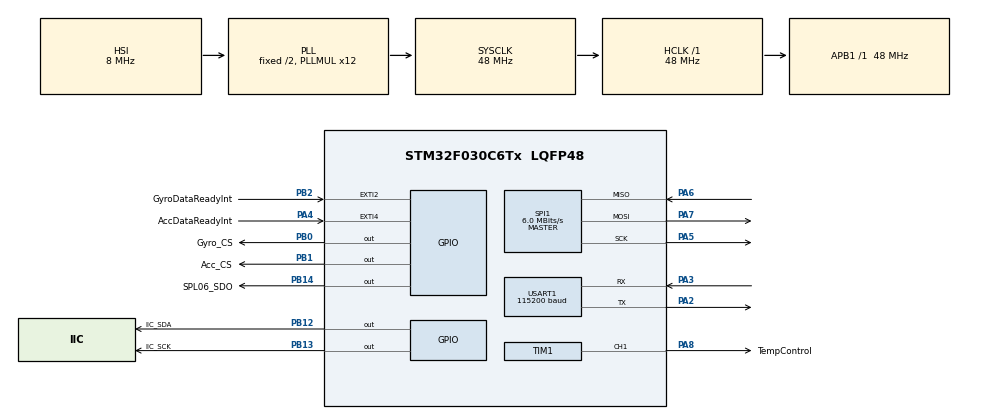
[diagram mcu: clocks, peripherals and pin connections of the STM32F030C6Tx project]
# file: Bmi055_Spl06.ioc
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Dma.Request0=SPI1_RX
Dma.Request1=SPI1_TX
Dma.SPI1_RX.0.Direction=DMA_PERIPH_TO_MEMORY
Dma.SPI1_RX.0.Instance=DMA1_Channel2
Dma.SPI1_RX.0.MemDataAlignment=DMA_MDATAALIGN_BYTE
Dma.SPI1_RX.0.MemInc=DMA_MINC_ENABLE
Dma.SPI1_RX.0.Mode=DMA_NORMAL
Dma.SPI1_RX.0.PeriphDataAlignment=DMA_PDATAALIGN_BYTE
Dma.SPI1_RX.0.PeriphInc=DMA_PINC_DISABLE
Dma.SPI1_RX.0.Priority=DMA_PRIORITY_LOW
Dma.SPI1_TX.1.Direction=DMA_MEMORY_TO_PERIPH
Dma.SPI1_TX.1.Instance=DMA1_Channel3
Dma.SPI1_TX.1.MemDataAlignment=DMA_MDATAALIGN_BYTE
Dma.SPI1_TX.1.MemInc=DMA_MINC_ENABLE
Dma.SPI1_TX.1.Mode=DMA_NORMAL
Dma.SPI1_TX.1.PeriphDataAlignment=DMA_PDATAALIGN_BYTE
Dma.SPI1_TX.1.PeriphInc=DMA_PINC_DISABLE
Dma.SPI1_TX.1.Priority=DMA_PRIORITY_LOW
Mcu.Family=STM32F0
Mcu.Name=STM32F030C6Tx
Mcu.Package=LQFP48
NVIC.DMA1_Channel2_3_IRQn=true\:0\:0\:false\:false\:true\:false\:true\:true
NVIC.SPI1_IRQn=true\:0\:0\:false\:false\:true\:true\:true\:true
NVIC.TIM16_IRQn=true\:0\:0\:false\:false\:false\:true\:true\:true
NVIC.TIM3_IRQn=true\:0\:0\:false\:false\:false\:true\:true\:true
PA13.Mode=Serial_Wire
PA13.Signal=SYS_SWDIO
PA14.Mode=Serial_Wire
PA14.Signal=SYS_SWCLK
PA2.Mode=Asynchronous
PA2.Signal=USART1_TX
PA3.Mode=Asynchronous
PA3.Signal=USART1_RX
PA4.GPIO_Label=AccDataReadyInt
PA4.Signal=GPXTI4
PA5.Mode=Full_Duplex_Master
PA5.Signal=SPI1_SCK
PA6.Mode=Full_Duplex_Master
PA6.Signal=SPI1_MISO
PA7.Mode=Full_Duplex_Master
PA7.Signal=SPI1_MOSI
PA8.GPIO_Label=TempControl
PA8.GPIO_PuPd=GPIO_PULLDOWN
PA8.GPIO_Speed=GPIO_SPEED_FREQ_HIGH
PA8.Signal=S_TIM1_CH1
PB0.GPIO_Label=Gyro_CS
PB0.Signal=GPIO_Output
PB1.GPIO_Label=Acc_CS
PB1.Signal=GPIO_Output
PB12.GPIO_Label=IIC_SDA
PB12.GPIO_Speed=GPIO_SPEED_FREQ_HIGH
PB12.Signal=GPIO_Output
PB13.GPIO_Label=IIC_SCK
PB13.GPIO_ModeDefaultOutputPP=GPIO_MODE_OUTPUT_PP
PB13.GPIO_PuPd=GPIO_PULLUP
PB13.GPIO_Speed=GPIO_SPEED_FREQ_HIGH
PB13.Signal=GPIO_Output
PB14.GPIO_Label=SPL06_SDO
PB14.Signal=GPIO_Output
PB2.GPIO_Label=GyroDataReadyInt
PB2.Signal=GPXTI2
PF0-OSC_IN.Mode=HSE-External-Oscillator
PF0-OSC_IN.Signal=RCC_OSC_IN
PF1-OSC_OUT.Mode=HSE-External-Oscillator
PF1-OSC_OUT.Signal=RCC_OSC_OUT
ProjectManager.HeapSize=0x200
ProjectManager.StackSize=0x400
ProjectManager.TargetToolchain=MDK-ARM V5.32
RCC.AHBFreq_Value=48000000
RCC.APB1Freq_Value=48000000
RCC.APB1TimFreq_Value=48000000
RCC.HCLKFreq_Value=48000000
RCC.HSE_VALUE=12000000
RCC.PLLMUL=RCC_PLL_MUL12
RCC.SYSCLKFreq_VALUE=48000000
RCC.SYSCLKSource=RCC_SYSCLKSOURCE_PLLCLK
SH.S_TIM1_CH1.0=TIM1_CH1,PWM Generation1 CH1
SPI1.BaudRatePrescaler=SPI_BAUDRATEPRESCALER_8
SPI1.CLKPhase=SPI_PHASE_2EDGE
SPI1.CLKPolarity=SPI_POLARITY_HIGH
SPI1.CalculateBaudRate=6.0 MBits/s
SPI1.DataSize=SPI_DATASIZE_8BIT
SPI1.Direction=SPI_DIRECTION_2LINES
SPI1.Mode=SPI_MODE_MASTER
SPI1.VirtualType=VM_MASTER
TIM1.AutoReloadPreload=TIM_AUTORELOAD_PRELOAD_ENABLE
TIM1.Channel-PWM\ Generation1\ CH1=TIM_CHANNEL_1
TIM1.Period=40000
TIM1.Prescaler=12-1
TIM14.AutoReloadPreload=TIM_AUTORELOAD_PRELOAD_ENABLE
TIM14.Prescaler=48-1
TIM16.AutoReloadPreload=TIM_AUTORELOAD_PRELOAD_ENABLE
TIM16.Period=5000
TIM16.Prescaler=48-1
TIM3.AutoReloadPreload=TIM_AUTORELOAD_PRELOAD_ENABLE
TIM3.Period=10000
TIM3.Prescaler=48-1
USART1.BaudRate=115200
USART1.VirtualMode-Asynchronous=VM_ASYNC
VP_TIM14_VS_ClockSourceINT.Mode=Enable_Timer
VP_TIM16_VS_ClockSourceINT.Mode=Enable_Timer
VP_TIM1_VS_ClockSourceINT.Mode=Internal
VP_TIM3_VS_ClockSourceINT.Mode=Internal
board=custom

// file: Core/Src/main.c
/* USER CODE BEGIN Header */
/**
  ******************************************************************************
  * @file           : main.c
  * @brief          : Main program body
  ******************************************************************************
  * @attention
  *
  * Copyright (c) 2022 STMicroelectronics.
  * All rights reserved.
  *
  * This software is licensed under terms that can be found in the LICENSE file
  * in the root directory of this software component.
  * If no LICENSE file comes with this software, it is provided AS-IS.
  *
  ******************************************************************************
  */
/* USER CODE END Header */
#include "main.h"
#include "dma.h"
#include "spi.h"
#include "tim.h"
#include "usart.h"
#include "gpio.h"

/* USER CODE BEGIN Includes */
#include "SPL06_001.h"
#include <stdio.h>
#include "TempControl.h"
#include "Bmi055.h"
#include "SPI_soft.h"
/* USER CODE END Includes */

void SystemClock_Config(void);

/* USER CODE BEGIN 0 */

PidClass TempPid;
uint8_t dataSend[2] = {0x00,0x00};
/* USER CODE END 0 */

int main(void)
{

  /* MCU Configuration--------------------------------------------------------*/

  /* Reset of all peripherals, Initializes the Flash interface and the Systick. */
  HAL_Init();

  /* Configure the system clock */
  SystemClock_Config();

  /* Initialize all configured peripherals */
  MX_GPIO_Init();
  MX_USART1_UART_Init();
  MX_TIM1_Init();
  MX_TIM14_Init();
  MX_DMA_Init();
  MX_SPI1_Init();
  MX_TIM3_Init();
  MX_TIM16_Init();
  /* USER CODE BEGIN 2 */
	//Temprature control Pid Init
	TempPid.kp = 20;
	TempPid.kd = 100;
	TempPid.maxOutput = 9000;
	Bmi055Configure();
	spl0601_init();
	HAL_TIM_Base_Start(&htim1);
	HAL_TIM_PWM_Start(&htim1, TIM_CHANNEL_1);
	HAL_TIM_Base_Start(&htim14);
	HAL_TIM_Base_Start_IT(&htim3);
	HAL_TIM_Base_Start_IT(&htim16);
  /* USER CODE END 2 */

  /* Infinite loop */
  while (1)
  {

    /* USER CODE BEGIN 3 */

		HAL_Delay(10);
  }
  /* USER CODE END 3 */
}

void SystemClock_Config(void)
{
  RCC_OscInitTypeDef RCC_OscInitStruct = {0};
  RCC_ClkInitTypeDef RCC_ClkInitStruct = {0};
  RCC_PeriphCLKInitTypeDef PeriphClkInit = {0};

  /** Initializes the RCC Oscillators according to the specified parameters
  * in the RCC_OscInitTypeDef structure.
  */
  RCC_OscInitStruct.OscillatorType = RCC_OSCILLATORTYPE_HSI;
  RCC_OscInitStruct.HSIState = RCC_HSI_ON;
  RCC_OscInitStruct.HSICalibrationValue = RCC_HSICALIBRATION_DEFAULT;
  RCC_OscInitStruct.PLL.PLLState = RCC_PLL_ON;
  RCC_OscInitStruct.PLL.PLLSource = RCC_PLLSOURCE_HSI;
  RCC_OscInitStruct.PLL.PLLMUL = RCC_PLL_MUL12;
  RCC_OscInitStruct.PLL.PREDIV = RCC_PREDIV_DIV1;
  if (HAL_RCC_OscConfig(&RCC_OscInitStruct) != HAL_OK)
  {
    Error_Handler();
  }

  /** Initializes the CPU, AHB and APB buses clocks
  */
  RCC_ClkInitStruct.ClockType = RCC_CLOCKTYPE_HCLK|RCC_CLOCKTYPE_SYSCLK
                              |RCC_CLOCKTYPE_PCLK1;
  RCC_ClkInitStruct.SYSCLKSource = RCC_SYSCLKSOURCE_PLLCLK;
  RCC_ClkInitStruct.AHBCLKDivider = RCC_SYSCLK_DIV1;
  RCC_ClkInitStruct.APB1CLKDivider = RCC_HCLK_DIV1;

  if (HAL_RCC_ClockConfig(&RCC_ClkInitStruct, FLASH_LATENCY_1) != HAL_OK)
  {
    Error_Handler();
  }
  PeriphClkInit.PeriphClockSelection = RCC_PERIPHCLK_USART1;
  PeriphClkInit.Usart1ClockSelection = RCC_USART1CLKSOURCE_PCLK1;
  if (HAL_RCCEx_PeriphCLKConfig(&PeriphClkInit) != HAL_OK)
  {
    Error_Handler();
  }
}

void Error_Handler(void)
{
  __disable_irq();
  while (1)
  {
  }
}
